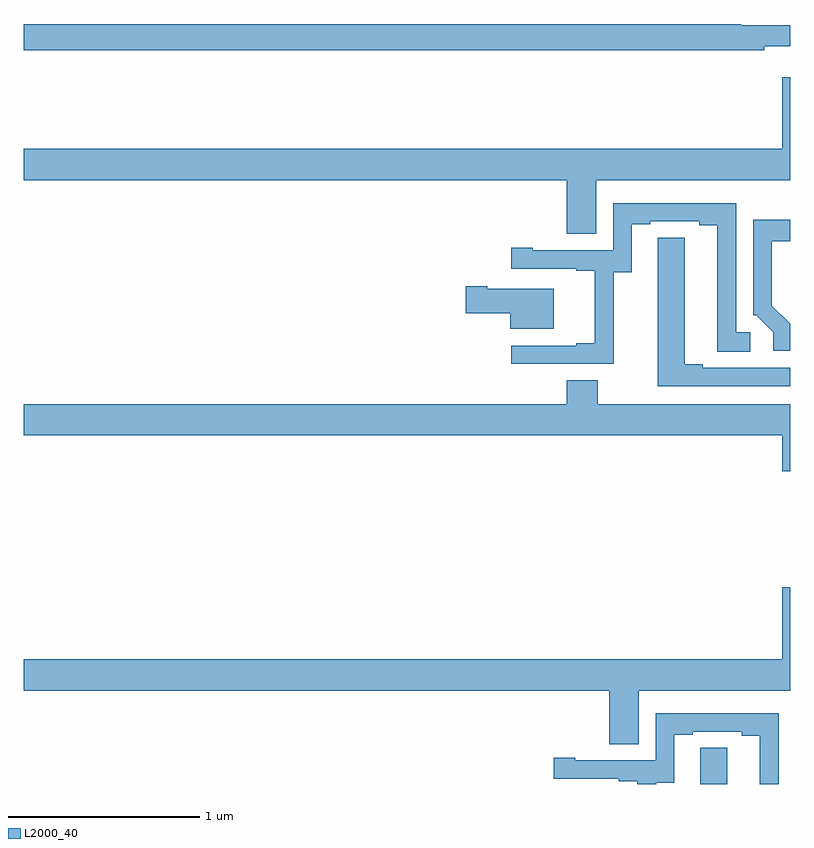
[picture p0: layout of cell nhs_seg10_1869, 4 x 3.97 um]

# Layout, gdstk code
import gdstk
lib = gdstk.Library(unit=1e-6, precision=1e-09)
def P(c, l, *ps):  # polygons
    for p in ps: c.add(gdstk.Polygon(p, *l))
L2000_40 = (2000, 40)

nhs_seg10_1869 = lib.new_cell('nhs_seg10_1869')
P(nhs_seg10_1869, L2000_40, [(212.864,1298.351),(213,1298.351),(213,1298.461),(212.746,1298.461),(212.746,1298.468),(209,1298.468),(209,1298.332),(212.864,1298.332)],
  [(211.987,1297.652),(213,1297.652),(213,1298.191),(212.96,1298.191),(212.96,1297.816),(209,1297.816),(209,1297.652),(211.835,1297.652),(211.835,1297.372),(211.987,1297.372)],
  [(212.079,1297.171),(212.173,1297.171),(212.173,1297.422),(212.269,1297.422),(212.269,1297.437),(212.525,1297.437),(212.525,1297.417),(212.621,1297.417),(212.621,1296.757),(212.791,1296.757),(212.791,1296.858),(212.718,1296.858),(212.718,1297.533),(212.076,1297.533),(212.076,1297.287),(211.657,1297.287),(211.657,1297.3),(211.545,1297.3),(211.545,1297.191),(211.883,1297.191),(211.883,1297.179),(211.979,1297.179),(211.979,1296.802),(211.883,1296.802),(211.883,1296.789),(211.545,1296.789),(211.545,1296.693),(212.079,1296.693)],
  [(213,1296.903),(212.905,1296.998),(212.905,1297.335),(213,1297.335),(213,1297.445),(212.808,1297.445),(212.808,1296.948),(212.823,1296.948),(212.913,1296.858),(212.913,1296.762),(213,1296.762)],
  [(213,1296.672),(212.545,1296.672),(212.545,1296.692),(212.449,1296.692),(212.449,1297.352),(212.31,1297.352),(212.31,1297.244),(212.309,1297.244),(212.309,1296.576),(213,1296.576)],
  [(211.765,1297.087),(211.42,1297.087),(211.42,1297.1),(211.308,1297.1),(211.308,1296.958),(211.538,1296.958),(211.538,1296.878),(211.765,1296.878)],
  [(213,1296.484),(211.995,1296.484),(211.995,1296.608),(211.835,1296.608),(211.835,1296.484),(209,1296.484),(209,1296.32),(212.96,1296.32),(212.96,1296.132),(213,1296.132)],
  [(212.209,1294.988),(213,1294.988),(213,1295.527),(212.96,1295.527),(212.96,1295.152),(209,1295.152),(209,1294.988),(212.057,1294.988),(212.057,1294.708),(212.209,1294.708)],
  [(212.301,1294.507),(212.395,1294.507),(212.395,1294.758),(212.491,1294.758),(212.491,1294.773),(212.747,1294.773),(212.747,1294.753),(212.843,1294.753),(212.843,1294.5),(212.94,1294.5),(212.94,1294.869),(212.298,1294.869),(212.298,1294.623),(211.879,1294.623),(211.879,1294.636),(211.767,1294.636),(211.767,1294.527),(212.105,1294.527),(212.105,1294.515),(212.201,1294.515),(212.201,1294.5),(212.301,1294.5)],
  [(212.671,1294.688),(212.532,1294.688),(212.532,1294.58),(212.531,1294.58),(212.531,1294.5),(212.671,1294.5)])

lib.write_gds('nhs_seg10_1869.gds')
